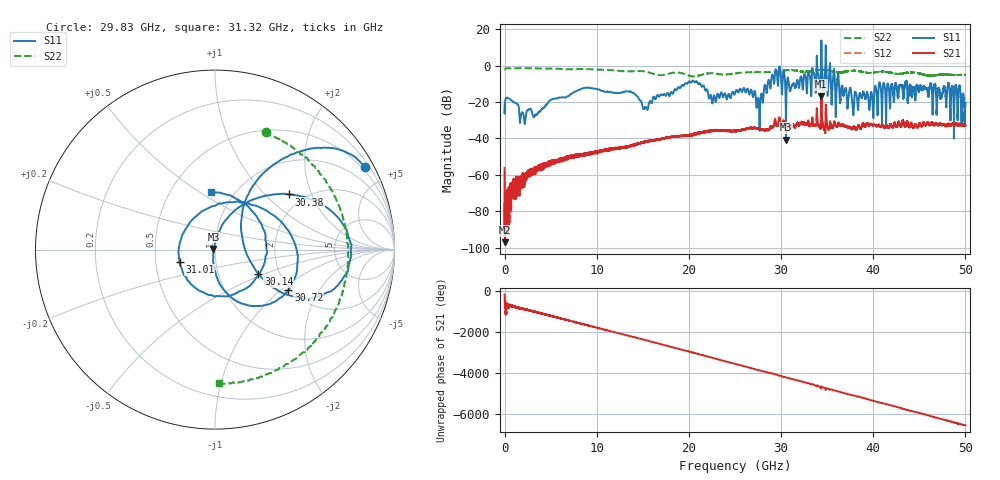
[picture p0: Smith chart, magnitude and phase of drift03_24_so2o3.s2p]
!Created with skrf (http://scikit-rf.org).
# Hz S RI R 50.0
!freq ReS11 ImS11 ReS21 ImS21 ReS12 ImS12 ReS22 ImS22
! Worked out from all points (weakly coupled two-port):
!   10001 points, 300 kHz to 50 GHz, reference 50 ohm
!   highest |S21| = -16.80 dB at 34.37 GHz (marker M1); lowest = -97.0 dB at 30.3 MHz (marker M2)
!   lowest |S11| = -40.6 dB at 30.53 GHz (marker M3), VSWR 1.02, Z = 49.1 + j0.301 ohm
!   |S11| at or under -10 dB: start of sweep to 19.56 GHz; 21.25 GHz to 28.55 GHz (7.298 GHz wide, 29.3 % of centre); 36.28 GHz to 40.63 GHz (4.343 GHz wide, 11.3 % of centre) (the widest 3 of 38)
!   |S22| runs from -5.9 to -1.3 dB; largest |S21 - S12| = 0.022
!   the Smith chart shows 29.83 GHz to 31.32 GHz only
!   S11 on the Smith chart (normalised r, x): 29.83 GHz: 0.37, +3.86; 30.14 GHz: 1.56, -0.45; 30.38 GHz: 1.67, +1.40; 30.72 GHz: 1.96, -1.12; 31.01 GHz: 0.66, -0.10; 31.32 GHz: 0.79, +0.56
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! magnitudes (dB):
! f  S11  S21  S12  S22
! 300 kHz  -21.7  -56.1  -58.3  -2.1
! 30.3 MHz  -22.4  -97.0  -77.2  -1.8
! 255.3 MHz  -17.6  -68.1  -76.3  -1.4
! 3.305 GHz  -27.3  -57.7  -57.9  -1.5
! 8.335 GHz  -12.6  -48.9  -49.0  -1.9
! 15.29 GHz  -22.8  -41.8  -41.8  -3.3
! 16.67 GHz  -16.5  -40.5  -40.6  -5.2
! 20.26 GHz  -9.2  -37.9  -37.9  -5.8
! 25 GHz  -15.3  -35.8  -35.7  -4.3
! 27.53 GHz  -17.9  -34.7  -34.5  -3.5
! 29.83 GHz  -0.4  -29.5  -28.5  -3.0
! 30.14 GHz  -11.2  -33.2  -33.4  -2.8
! 30.38 GHz  -5.8  -32.0  -32.6  -2.7
! 30.53 GHz  -40.6  -34.1  -33.9  -2.6
! 30.72 GHz  -6.6  -32.9  -32.9  -2.5
! 31.01 GHz  -13.6  -34.3  -34.3  -2.4
! 31.32 GHz  -9.9  -32.4  -32.5  -2.6
! 33.34 GHz  -7.4  -31.1  -31.1  -2.9
! 34.37 GHz  13.8  -16.8  -17.9  -2.3
! 37.85 GHz  -27.1  -33.9  -34.3  -2.8
! 41.67 GHz  -11.6  -34.2  -34.2  -3.8
! 50 GHz  -20.4  -32.8  -32.8  -5.0
